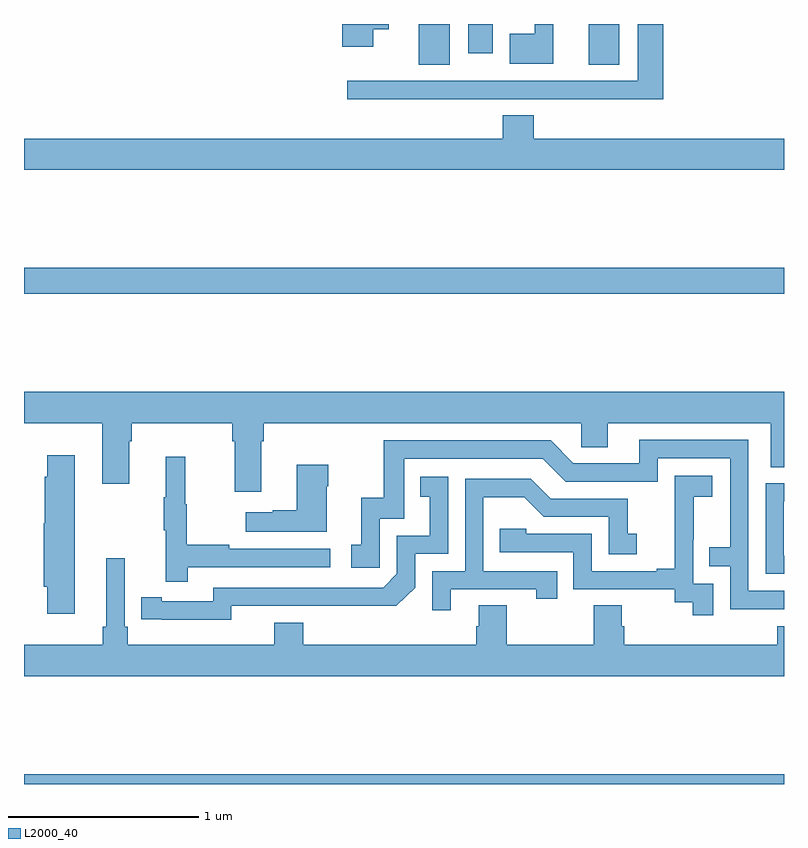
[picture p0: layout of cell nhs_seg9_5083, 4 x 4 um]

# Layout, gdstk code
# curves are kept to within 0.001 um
import gdstk
lib = gdstk.Library(unit=1e-6, precision=1e-09)
def R(c, l, rs):  # rectangles x0, y0, x1, y1
    for r in rs: c.add(gdstk.rectangle(r[:2], r[2:], *l))
def P(c, l, *ps):  # polygons
    for p in ps: c.add(gdstk.Polygon(p, *l))
L2000_40 = (2000, 40)

nhs_seg9_5083 = lib.new_cell('nhs_seg9_5083')
R(nhs_seg9_5083, L2000_40, [(405,1214.5,409,1214.552), (405,1217.08,409,1217.216), (407.078,1218.286,407.242,1218.5), (407.972,1218.286,408.133,1218.5), (407.339,1218.345,407.467,1218.5)])
P(nhs_seg9_5083, L2000_40, [(407.786,1218.5),(407.687,1218.5),(407.687,1218.448),(407.556,1218.448),(407.556,1218.29),(407.786,1218.29)],
  [(406.837,1218.473),(406.921,1218.473),(406.921,1218.5),(406.676,1218.5),(406.676,1218.38),(406.837,1218.38)],
  [(407.435,1218.105),(407.767,1218.105),(407.767,1218.104),(408.365,1218.104),(408.365,1218.5),(408.23,1218.5),(408.23,1218.201),(406.982,1218.201),(406.982,1218.202),(406.701,1218.202),(406.701,1218.104),(407.435,1218.104)],
  [(409,1217.896),(407.684,1217.896),(407.684,1218.02),(407.519,1218.02),(407.519,1217.896),(405,1217.896),(405,1217.732),(409,1217.732)],
  [(406.249,1216.304),(406.262,1216.304),(406.262,1216.4),(407.934,1216.4),(407.934,1216.273),(408.073,1216.273),(408.073,1216.4),(408.929,1216.4),(408.929,1216.168),(409,1216.168),(409,1216.564),(405,1216.564),(405,1216.4),(405.413,1216.4),(405.413,1216.08),(405.553,1216.08),(405.553,1216.304),(405.566,1216.304),(405.566,1216.4),(406.097,1216.4),(406.097,1216.304),(406.109,1216.304),(406.109,1216.038),(406.249,1216.038)],
  [(409,1215.516),(408.813,1215.516),(408.813,1216.311),(408.239,1216.311),(408.239,1216.188),(407.892,1216.188),(407.772,1216.308),(406.893,1216.308),(406.893,1216.006),(406.775,1216.006),(406.775,1215.759),(406.722,1215.759),(406.722,1215.639),(406.872,1215.639),(406.872,1215.897),(407.001,1215.897),(407.001,1216.212),(407.73,1216.212),(407.85,1216.092),(408.336,1216.092),(408.336,1216.215),(408.717,1216.215),(408.717,1215.746),(408.607,1215.746),(408.607,1215.645),(408.717,1215.645),(408.717,1215.42),(409,1215.42)],
  [(405.268,1216.231),(405.122,1216.231),(405.122,1216.118),(405.11,1216.118),(405.11,1215.873),(405.104,1215.873),(405.104,1215.537),(405.122,1215.537),(405.122,1215.396),(405.268,1215.396)],
  [(405.863,1215.642),(406.612,1215.642),(406.612,1215.738),(406.079,1215.738),(406.079,1215.758),(405.856,1215.758),(405.856,1215.972),(405.848,1215.972),(405.848,1216.222),(405.746,1216.222),(405.746,1216.009),(405.735,1216.009),(405.735,1215.835),(405.746,1215.835),(405.746,1215.564),(405.863,1215.564)],
  [(406.594,1216.067),(406.602,1216.067),(406.602,1216.18),(406.436,1216.18),(406.436,1215.941),(406.31,1215.941),(406.31,1215.931),(406.167,1215.931),(406.167,1215.827),(406.594,1215.827)],
  [(408.627,1215.555),(408.522,1215.555),(408.522,1215.785),(408.524,1215.785),(408.524,1216.013),(408.622,1216.013),(408.622,1216.123),(408.424,1216.123),(408.424,1215.917),(408.425,1215.917),(408.425,1215.634),(408.329,1215.634),(408.329,1215.621),(407.988,1215.621),(407.988,1215.816),(407.643,1215.816),(407.643,1215.843),(407.503,1215.843),(407.503,1215.72),(407.892,1215.72),(407.892,1215.525),(408.426,1215.525),(408.426,1215.457),(408.519,1215.457),(408.519,1215.387),(408.627,1215.387)],
  [(406.092,1215.438),(406.96,1215.437),(407.058,1215.534),(407.058,1215.711),(407.232,1215.711),(407.232,1216.117),(407.086,1216.117),(407.086,1216.011),(407.135,1216.011),(407.135,1215.807),(406.962,1215.807),(406.962,1215.606),(406.89,1215.534),(405.996,1215.534),(405.996,1215.462),(405.724,1215.462),(405.724,1215.482),(405.616,1215.482),(405.616,1215.366),(406.092,1215.365)],
  [(407.245,1215.525),(407.696,1215.525),(407.696,1215.474),(407.807,1215.474),(407.807,1215.621),(407.418,1215.621),(407.418,1216.01),(407.632,1216.01),(407.736,1215.906),(408.078,1215.906),(408.078,1215.708),(408.226,1215.708),(408.226,1215.817),(408.177,1215.817),(408.177,1216.002),(407.773,1216.002),(407.668,1216.107),(407.322,1216.107),(407.322,1215.621),(407.148,1215.621),(407.148,1215.414),(407.245,1215.414)],
  [(409,1215.702),(408.999,1215.702),(408.999,1215.987),(409,1215.987),(409,1216.083),(408.903,1216.083),(408.903,1215.606),(409,1215.606)],
  [(409,1215.331),(408.965,1215.331),(408.965,1215.232),(408.158,1215.232),(408.158,1215.33),(408.145,1215.33),(408.145,1215.44),(407.998,1215.44),(407.998,1215.232),(407.541,1215.232),(407.541,1215.44),(407.393,1215.44),(407.393,1215.33),(407.381,1215.33),(407.381,1215.232),(406.469,1215.232),(406.469,1215.349),(406.316,1215.349),(406.316,1215.232),(405.545,1215.232),(405.545,1215.328),(405.531,1215.328),(405.531,1215.688),(405.434,1215.688),(405.434,1215.328),(405.415,1215.328),(405.415,1215.232),(405,1215.232),(405,1215.068),(409,1215.068)])

lib.write_gds('nhs_seg9_5083.gds')
